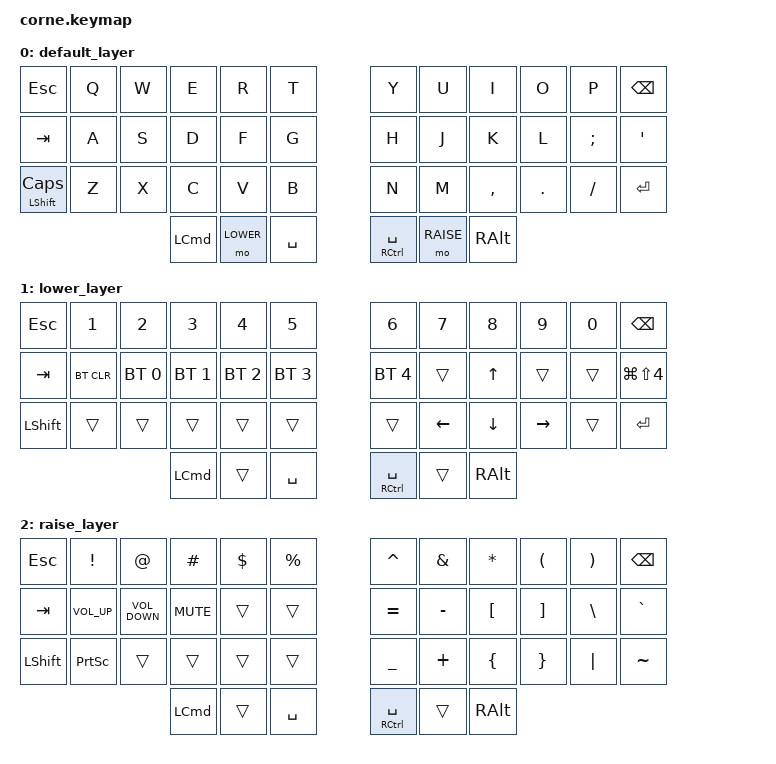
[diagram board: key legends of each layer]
/*
 * Copyright (c) 2020 The ZMK Contributors
 *
 * SPDX-License-Identifier: MIT
 */

#include <behaviors.dtsi>
#include <dt-bindings/zmk/keys.h>
#include <dt-bindings/zmk/bt.h>

#define DEFAULT 0
#define LOWER   1
#define RAISE   2

&mt {
        tapping-term-ms = <400>;
    };

/ {
        keymap {
                compatible = "zmk,keymap";

                default_layer {
// -----------------------------------------------------------------------------------------
// | ESC |  Q  |  W  |  E  |  R  |  T  |   |  Y  |  U   |  I  |  O  |  P  | BSPC |
// | TAB |  A  |  S  |  D  |  F  |  G  |   |  H  |  J   |  K  |  L  |  ;  |  '   |
// | CAPS |  Z  |  X  |  C  |  V  |  B  |   |  N  |  M   |  ,  |  .  |  /  | ENT  |
//                    | LCTRL | LWR | SPC |   | RCMD | RSE  | ALT |
                        bindings = <
   &kp ESC   &kp Q &kp W &kp E &kp R &kp T          &kp Y &kp U  &kp I  &kp O   &kp P    &kp BSPC
   &kp TAB &kp A &kp S &kp D &kp F &kp G            &kp H &kp J  &kp K  &kp L   &kp SEMI &kp SQT
   &mt LSHIFT CAPSLOCK  &kp Z &kp X &kp C &kp V &kp B   &kp N &kp M  &kp COMMA &kp DOT &kp FSLH &kp RET
                  &kp LCMD &mo LOWER &kp SPACE   &mt RCTRL SPACE &mo RAISE &kp RALT
                        >;
                };
                lower_layer {
// -----------------------------------------------------------------------------------------
// |  ESC |  1  |  2  |  3  |  4  |  5  |   |  6  |  7  |  8  |  9  |  0  | BSPC |
// | TAB  |BTCLR| BT1 | BT2 | BT3 | BT4 |   | BT5 |     |  UP |     |     |  screenshot |
// | LSHFT|     |     |     |     |     |   |     | LFT | DWN | RGT |     | ENT  |
//                    | LCTRL | LWR | SPC |   | ENT | RSE | ALT |
                        bindings = <
   &kp ESC    &kp N1       &kp N2       &kp N3       &kp N4       &kp N5         &kp N6       &kp N7   &kp N8     &kp N9    &kp N0 &kp BSPC
   &kp TAB    &bt BT_CLR &bt BT_SEL 0 &bt BT_SEL 1 &bt BT_SEL 2 &bt BT_SEL 3     &bt BT_SEL 4 &trans   &kp UP     &trans    &trans &kp LG(LS(N4))
   &kp LSHFT  &trans       &trans       &trans       &trans       &trans         &trans       &kp LEFT &kp DOWN   &kp RIGHT &trans &kp RET
                                    &kp LCMD     &trans       &kp SPACE      &mt RCTRL SPACE  &trans    &kp RALT
                        >;
                };

                raise_layer {
// -----------------------------------------------------------------------------------------
// |  ESC |  !  |  @  |  #  |  $  |  %  |   |  ^  |  &  |  *  |  (  |  )  | BSPC |
// | TAB  |vol +|vol -|mute |     |     |   |  =  |  -  |  [  |  ]  |  \  |  `   |
// | SHFT |  print screen   |  |     |     |     |   |  _  |  +  |  {  |  }  | "|" |  ~   |
//                    | GUI |     | SPC |   | ENT |     | ALT |
                        bindings = <
   &kp ESC  &kp EXCL &kp AT &kp HASH &kp DLLR &kp PRCNT   &kp CARET &kp AMPS  &kp ASTRK &kp LPAR &kp RPAR &kp BSPC
   &kp TAB  &kp K_VOLUME_UP   &kp K_VOLUME_DOWN &kp K_MUTE   &trans   &trans      &kp EQUAL &kp MINUS  &kp LBKT  &kp RBKT &kp BSLH &kp GRAVE
   &kp LSHFT &kp PSCRN  &trans &trans   &trans   &trans      &kp UNDER &kp PLUS  &kp LBRC  &kp RBRC &kp PIPE &kp TILDE
                             &kp LCMD &trans   &kp SPACE     &mt RCTRL SPACE   &trans    &kp RALT
                        >;
                };
        };
};
